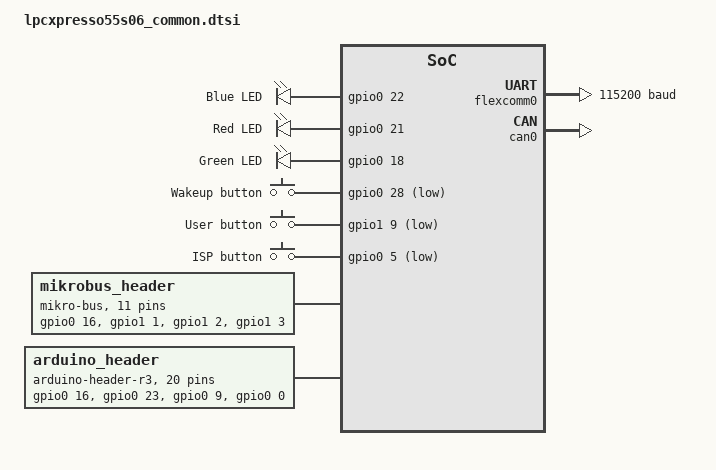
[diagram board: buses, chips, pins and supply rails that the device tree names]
/*
 * Copyright (c) 2022 metraTec
 * Copyright 2022-2023 NXP
 *
 * SPDX-License-Identifier: Apache-2.0
 */

#include "lpcxpresso55s06-pinctrl.dtsi"
#include <zephyr/dt-bindings/gpio/arduino-header-r3.h>
#include <zephyr/dt-bindings/input/input-event-codes.h>

/ {
	chosen {
		zephyr,sram = &sram0;
		zephyr,flash = &flash0;
		zephyr,code-partition = &slot0_partition;
		zephyr,uart-mcumgr = &flexcomm0;
		zephyr,console = &flexcomm0;
		zephyr,shell-uart = &flexcomm0;
		zephyr,entropy = &rng;
		zephyr,flash-controller = &iap;
		zephyr,canbus = &can0;
	};

	aliases {
		led0 = &blue_led;
		led1 = &red_led;
		led2 = &green_led;
		sw0 = &btn_wk;
		sw1 = &btn_usr;
		sw2 = &btn_isp;
		usart-0 = &flexcomm0;
		mcuboot-button0 = &btn_wk;
	};

	leds {
		compatible = "gpio-leds";

		blue_led: led_0 {
			gpios = <&gpio0 22 0>;
			label = "Blue LED";
		};

		red_led: led_1 {
			gpios = <&gpio0 21 0>;
			label = "Red LED";
		};

		green_led: led_2 {
			gpios = <&gpio0 18 0>;
			label = "Green LED";
		};
	};

	gpio_keys {
		compatible = "gpio-keys";

		btn_wk: button_0 {
			label = "Wakeup button";
			gpios = <&gpio0 28 GPIO_ACTIVE_LOW>;
			zephyr,code = <INPUT_KEY_WAKEUP>;
		};

		btn_usr: button_1 {
			label = "User button";
			gpios = <&gpio1 9 GPIO_ACTIVE_LOW>;
			zephyr,code = <INPUT_KEY_0>;
		};

		btn_isp: button_2 {
			label = "ISP button";
			gpios = <&gpio0 5 GPIO_ACTIVE_LOW>;
			zephyr,code = <INPUT_KEY_1>;
		};
	};

	mikrobus_header: mikrobus-connector {
		compatible = "mikro-bus";
		#gpio-cells = <2>;
		gpio-map-mask = <0xffffffff 0xffffffc0>;
		gpio-map-pass-thru = <0 0x3f>;
		gpio-map = <0 0 &gpio0 16 0>,	/* AN   */
			   /* Not a GPIO */	/* RST  */
			   <2 0 &gpio1 1 0>,	/* CS   */
			   <3 0 &gpio1 2 0>,	/* SCK  */
			   <4 0 &gpio1 3 0>,	/* MISO */
			   <5 0 &gpio0 26 0>,	/* MOSI */
			   /* +3.3V */
			   /* GND  */
			   <6 0 &gpio1 5 0>,	/* PWM  */
			   <7 0 &gpio0 28 0>,	/* INT  */
			   <8 0 &gpio1 10 0>,	/* RX   */
			   <9 0 &gpio1 11 0>,	/* TX   */
			   <10 0 &gpio0 24 0>,	/* SCL  */
			   <11 0 &gpio0 25 0>;	/* SDA  */
		/* +5V  */
		/* GND  */
	};

	arduino_header: arduino-connector {
		compatible = "arduino-header-r3";
		#gpio-cells = <2>;
		gpio-map-mask = <0xffffffff 0xffffffc0>;
		gpio-map-pass-thru = <0 0x3f>;
		gpio-map = <ARDUINO_HEADER_R3_A0 0 &gpio0 16 0>,
			   <ARDUINO_HEADER_R3_A1 0 &gpio0 23 0>,
			   <ARDUINO_HEADER_R3_A2 0 &gpio0 9 0>,
			   <ARDUINO_HEADER_R3_A3 0 &gpio0 0 0>,
			   <ARDUINO_HEADER_R3_A4 0 &gpio0 13 0>,
			   <ARDUINO_HEADER_R3_A5 0 &gpio0 14 0>,
			   <ARDUINO_HEADER_R3_D0 0 &gpio1 10 0>,
			   <ARDUINO_HEADER_R3_D1 0 &gpio1 11 0>,
			   <ARDUINO_HEADER_R3_D2 0 &gpio0 15 0>,
			   <ARDUINO_HEADER_R3_D3 0 &gpio0 23 0>,
			   <ARDUINO_HEADER_R3_D4 0 &gpio0 22 0>,
			   <ARDUINO_HEADER_R3_D5 0 &gpio0 19 0>,
			   <ARDUINO_HEADER_R3_D6 0 &gpio0 18 0>,
			   <ARDUINO_HEADER_R3_D7 0 &gpio0 2 0>,
			   <ARDUINO_HEADER_R3_D8 0 &gpio0 10 0>,
			   <ARDUINO_HEADER_R3_D9 0 &gpio0 25 0>,
			   <ARDUINO_HEADER_R3_D10 0 &gpio1 1 0>,
			   <ARDUINO_HEADER_R3_D11 0 &gpio0 26 0>,
			   <ARDUINO_HEADER_R3_D12 0 &gpio1 3 0>,
			   <ARDUINO_HEADER_R3_D13 0 &gpio1 2 0>;
	};
};

&flash0 {
	partitions {
		compatible = "fixed-partitions";
		#address-cells = <1>;
		#size-cells = <1>;

		boot_partition: partition@0 {
			label = "mcuboot";
			reg = <0x0 DT_SIZE_K(32)>;
		};

		slot0_partition: partition@8000 {
			label = "image-0";
			reg = <0x00008000 DT_SIZE_K(96)>;
		};

		slot1_partition: partition@20000 {
			label = "image-1";
			reg = <0x00020000 DT_SIZE_K(96)>;
		};

		storage_partition: partition@38000 {
			label = "storage";
			reg = <0x00038000 DT_SIZE_K(20)>;
		};
		/* The last 12KB are reserved for PFR on the 256KB flash. */
	};
};

&flexcomm0 {
	status = "okay";
	compatible = "nxp,lpc-usart";
	current-speed = <115200>;
	pinctrl-0 = <&pinmux_flexcomm0_usart>;
	pinctrl-names = "default";
};

&can0 {
	status = "okay";
	pinctrl-0 = <&pinmux_can0>;
	pinctrl-names = "default";

	can-transceiver {
		max-bitrate = <5000000>;
	};
};
